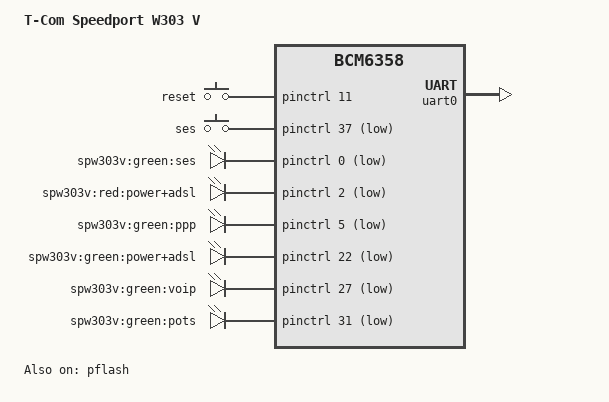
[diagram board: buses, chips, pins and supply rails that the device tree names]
/dts-v1/;

#include "bcm6358.dtsi"

#include <dt-bindings/input/input.h>

/ {
	model = "T-Com Speedport W303 V";
	compatible = "t-com,spw303v", "brcm,bcm6358";

	chosen {
		bootargs = "rootfstype=squashfs,jffs2 noinitrd console=ttyS0,115200";
		stdout-path = "serial0:115200n8";
	};

	gpio-keys-polled {
		compatible = "gpio-keys-polled";
		#address-cells = <1>;
		#size-cells = <0>;
		poll-interval = <20>;
		debounce-interval = <60>;

		reset {
			label = "reset";
			gpios = <&pinctrl 11 0>;
			linux,code = <KEY_RESTART>;
		};
		ses {
			label = "ses";
			gpios = <&pinctrl 37 1>;
			linux,code = <KEY_WPS_BUTTON>;
		};
	};

	gpio-leds {
		compatible = "gpio-leds";

		ses_green {
			label = "spw303v:green:ses";
			gpios = <&pinctrl 0 1>;
		};
		power_adsl_red {
			label = "spw303v:red:power+adsl";
			gpios = <&pinctrl 2 1>;
		};
		ppp_green {
			label = "spw303v:green:ppp";
			gpios = <&pinctrl 5 1>;
		};
		power_adsl_green {
			label = "spw303v:green:power+adsl";
			gpios = <&pinctrl 22 1>;
			default-state = "on";
		};
		voip_green {
			label = "spw303v:green:voip";
			gpios = <&pinctrl 27 1>;
		};
		pots_green {
			label = "spw303v:green:pots";
			gpios = <&pinctrl 31 1>;
		};
	};
};

&pflash {
	status = "ok";

	partitions {
		compatible = "fixed-partitions";
		#address-cells = <1>;
		#size-cells = <1>;

		cfe@0 {
			label = "CFE";
			reg = <0x000000 0x010000>;
			read-only;
		};

		linux@10000 {
			label = "linux";
			reg = <0x010000 0x7e0000>;
			compatible = "brcm,bcm963xx-imagetag";
		};

		nvram@7f0000 {
			label = "nvram";
			reg = <0x7f0000 0x010000>;
		};
	};
};

&uart0 {
	status = "ok";
};
